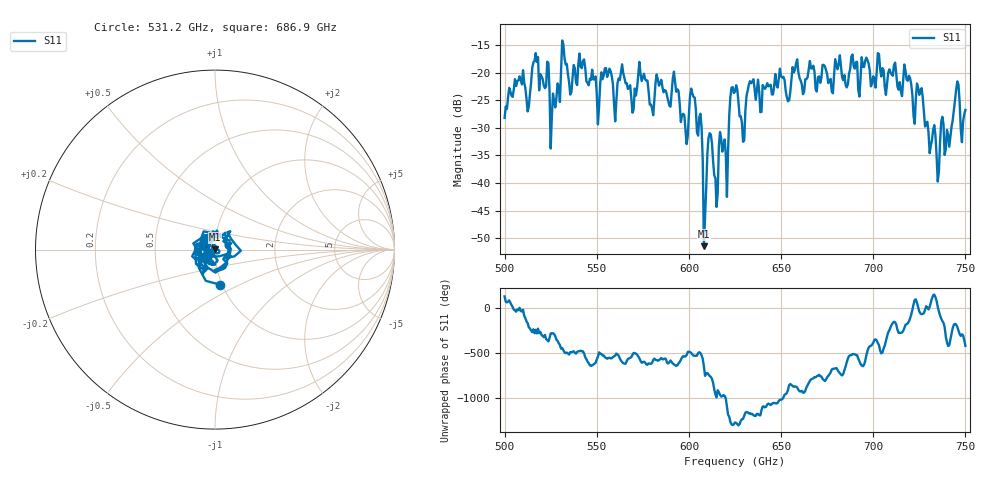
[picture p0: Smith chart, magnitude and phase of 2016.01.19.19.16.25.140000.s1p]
!Created with skrf (http://scikit-rf.org).
# GHz S RI R 50.0
!freq ReS11 ImS11
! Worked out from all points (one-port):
!   401 points, 500 GHz to 750 GHz, reference 50 ohm
!   lowest |S11| = -51.5 dB at 608.1 GHz (marker M1), VSWR 1.01, Z = 50.1 + j0.256 ohm
!   |S11| at or under -10 dB: start of sweep to end of sweep
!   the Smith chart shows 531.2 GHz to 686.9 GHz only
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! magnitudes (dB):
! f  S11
! 500 GHz  -28.2
! 508.8 GHz  -21.3
! 513.1 GHz  -26.1
! 516.9 GHz  -16.4
! 526.2 GHz  -23.8
! 531.2 GHz  -14.1
! 550.6 GHz  -29.4
! 562.5 GHz  -21.3
! 574.4 GHz  -21.5
! 580 GHz  -26.4
! 593.8 GHz  -23.0
! 598.1 GHz  -30.3
! 602.5 GHz  -24.4
! 606.2 GHz  -27.4
! 608.1 GHz  -51.5
! 611.2 GHz  -31.0
! 614.4 GHz  -39.1
! 617.5 GHz  -31.9
! 620 GHz  -34.7
! 625 GHz  -23.4
! 628.8 GHz  -29.0
! 633.8 GHz  -21.9
! 656.2 GHz  -19.0
! 687.5 GHz  -19.3
! 718.8 GHz  -21.4
! 735 GHz  -39.7
! 745 GHz  -23.0
! 750 GHz  -26.7
